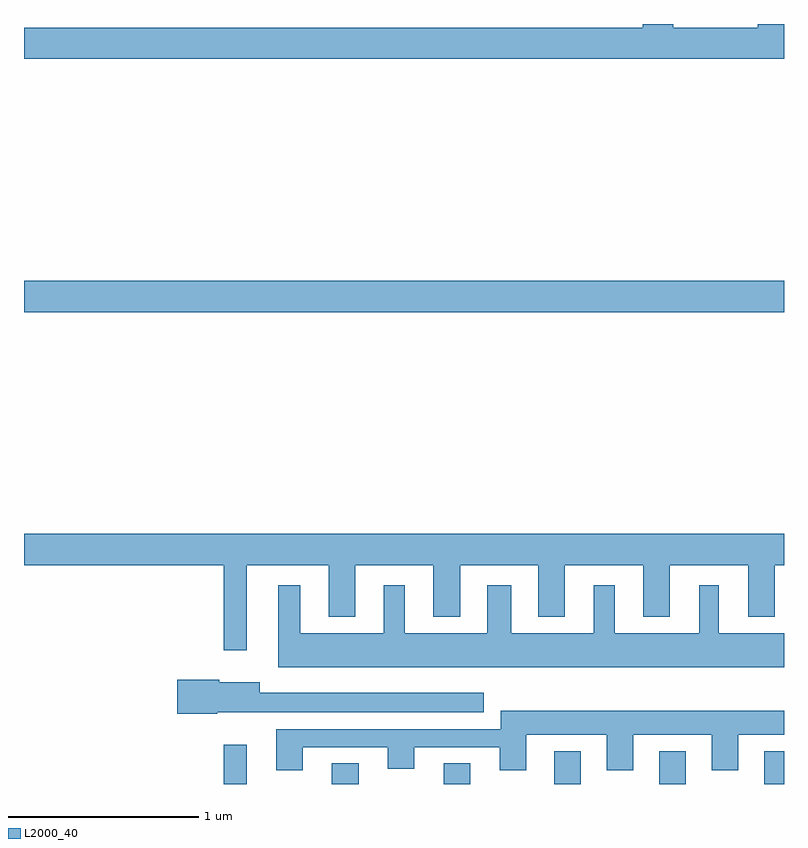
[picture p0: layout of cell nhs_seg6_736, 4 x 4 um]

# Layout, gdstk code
import gdstk
lib = gdstk.Library(unit=1e-6, precision=1e-09)
def R(c, l, rs):  # rectangles x0, y0, x1, y1
    for r in rs: c.add(gdstk.rectangle(r[:2], r[2:], *l))
def P(c, l, *ps):  # polygons
    for p in ps: c.add(gdstk.Polygon(p, *l))
L2000_40 = (2000, 40)

nhs_seg6_736 = lib.new_cell('nhs_seg6_736')
R(nhs_seg6_736, L2000_40, [(158.052,963.5,158.173,963.706), (158.621,963.5,158.761,963.608), (159.209,963.5,159.349,963.608), (159.791,963.5,159.931,963.673), (160.343,963.5,160.483,963.673), (160.895,963.5,161,963.673), (157,965.984,161,966.148)])
P(nhs_seg6_736, L2000_40, [(161,967.5),(160.861,967.5),(160.861,967.48),(160.416,967.48),(160.416,967.5),(160.256,967.5),(160.256,967.48),(157,967.48),(157,967.316),(161,967.316)],
  [(157,964.652),(158.052,964.652),(158.052,964.203),(158.173,964.203),(158.173,964.652),(158.603,964.652),(158.603,964.379),(158.743,964.379),(158.743,964.652),(159.155,964.652),(159.155,964.379),(159.295,964.379),(159.295,964.652),(159.707,964.652),(159.707,964.379),(159.847,964.379),(159.847,964.652),(160.259,964.652),(160.259,964.379),(160.399,964.379),(160.399,964.652),(160.811,964.652),(160.811,964.379),(160.951,964.379),(160.951,964.652),(161,964.652),(161,964.816),(157,964.816)],
  [(161,964.294),(160.657,964.294),(160.657,964.546),(160.553,964.546),(160.553,964.294),(160.108,964.294),(160.108,964.546),(159.998,964.546),(159.998,964.294),(159.565,964.294),(159.565,964.546),(159.437,964.546),(159.437,964.294),(159.004,964.294),(159.004,964.546),(158.894,964.546),(158.894,964.294),(158.455,964.294),(158.455,964.546),(158.339,964.546),(158.339,964.115),(161,964.115)],
  [(158.018,963.878),(159.421,963.878),(159.421,963.979),(158.242,963.979),(158.242,964.036),(158.028,964.036),(158.028,964.049),(157.806,964.049),(157.806,963.871),(158.018,963.871)],
  [(158.467,963.693),(158.915,963.693),(158.915,963.581),(159.055,963.581),(159.055,963.693),(159.503,963.693),(159.503,963.573),(159.643,963.573),(159.643,963.758),(160.067,963.758),(160.067,963.573),(160.207,963.573),(160.207,963.758),(160.619,963.758),(160.619,963.573),(160.759,963.573),(160.759,963.758),(161,963.758),(161,963.886),(159.509,963.886),(159.509,963.789),(158.327,963.789),(158.327,963.573),(158.467,963.573)])

lib.write_gds('nhs_seg6_736.gds')
